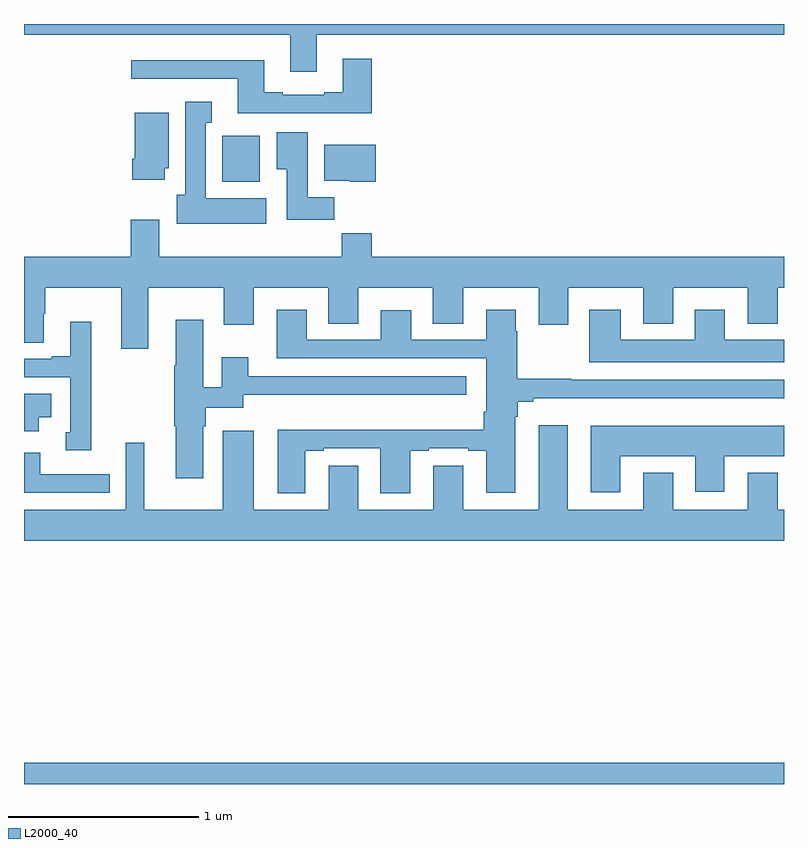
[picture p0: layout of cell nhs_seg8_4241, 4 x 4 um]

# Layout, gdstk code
import gdstk
lib = gdstk.Library(unit=1e-6, precision=1e-09)
def R(c, l, rs):  # rectangles x0, y0, x1, y1
    for r in rs: c.add(gdstk.rectangle(r[:2], r[2:], *l))
def P(c, l, *ps):  # polygons
    for p in ps: c.add(gdstk.Polygon(p, *l))
L2000_40 = (2000, 40)

nhs_seg8_4241 = lib.new_cell('nhs_seg8_4241')
R(nhs_seg8_4241, L2000_40, [(371,1101.9,375,1102.012), (372.044,1105.07,372.241,1105.312)])
P(nhs_seg8_4241, L2000_40, [(372.541,1105.844),(375,1105.844),(375,1105.9),(371,1105.9),(371,1105.844),(372.401,1105.844),(372.401,1105.65),(372.541,1105.65)],
  [(372.83,1105.717),(372.677,1105.717),(372.677,1105.54),(372.581,1105.54),(372.581,1105.527),(372.361,1105.527),(372.361,1105.54),(372.265,1105.54),(372.265,1105.708),(371.565,1105.708),(371.565,1105.611),(372.125,1105.611),(372.125,1105.431),(372.589,1105.431),(372.589,1105.43),(372.83,1105.43)],
  [(372.274,1104.982),(371.956,1104.982),(371.956,1105.379),(371.989,1105.379),(371.989,1105.492),(371.849,1105.492),(371.849,1105.002),(371.804,1105.002),(371.804,1104.848),(372.274,1104.848)],
  [(371.74,1105.14),(371.761,1105.14),(371.761,1105.432),(371.582,1105.432),(371.582,1105.192),(371.57,1105.192),(371.57,1105.08),(371.74,1105.08)],
  [(372.632,1104.988),(372.493,1104.988),(372.493,1105.33),(372.329,1105.33),(372.329,1105.136),(372.383,1105.136),(372.383,1104.87),(372.632,1104.87)],
  [(372.85,1105.264),(372.581,1105.264),(372.581,1105.076),(372.714,1105.076),(372.714,1105.07),(372.85,1105.07)],
  [(371.561,1104.676),(371,1104.676),(371,1104.223),(371.104,1104.223),(371.104,1104.374),(371.112,1104.374),(371.112,1104.512),(371.513,1104.512),(371.513,1104.192),(371.653,1104.192),(371.653,1104.512),(372.05,1104.512),(372.05,1104.318),(372.208,1104.318),(372.208,1104.512),(372.602,1104.512),(372.602,1104.322),(372.76,1104.322),(372.76,1104.512),(373.151,1104.512),(373.151,1104.322),(373.312,1104.322),(373.312,1104.512),(373.709,1104.512),(373.709,1104.318),(373.864,1104.318),(373.864,1104.512),(374.258,1104.512),(374.258,1104.323),(374.416,1104.323),(374.416,1104.512),(374.81,1104.512),(374.81,1104.323),(374.968,1104.323),(374.968,1104.512),(375,1104.512),(375,1104.676),(372.83,1104.676),(372.83,1104.8),(372.673,1104.8),(372.673,1104.676),(371.713,1104.676),(371.713,1104.871),(371.561,1104.871)],
  [(375,1104.238),(374.689,1104.238),(374.689,1104.397),(374.531,1104.397),(374.531,1104.238),(374.14,1104.238),(374.14,1104.397),(373.976,1104.397),(373.976,1104.119),(375,1104.119)],
  [(373.033,1103.655),(373.129,1103.655),(373.129,1103.667),(373.337,1103.667),(373.337,1103.655),(373.433,1103.655),(373.433,1103.433),(373.585,1103.433),(373.585,1103.834),(373.598,1103.834),(373.598,1103.911),(373.681,1103.911),(373.681,1103.93),(375,1103.93),(375,1104.027),(373.88,1104.027),(373.88,1104.032),(373.596,1104.032),(373.596,1104.284),(373.588,1104.284),(373.588,1104.397),(373.433,1104.397),(373.433,1104.237),(373.039,1104.237),(373.039,1104.394),(372.878,1104.394),(372.878,1104.237),(372.487,1104.237),(372.487,1104.397),(372.329,1104.397),(372.329,1104.141),(373.433,1104.141),(373.433,1103.86),(373.421,1103.86),(373.421,1103.765),(372.335,1103.765),(372.335,1103.43),(372.481,1103.43),(372.481,1103.655),(372.577,1103.655),(372.577,1103.667),(372.875,1103.667),(372.875,1103.429),(373.033,1103.429)],
  [(371.944,1103.783),(371.957,1103.783),(371.957,1103.88),(372.154,1103.88),(372.154,1103.948),(373.327,1103.948),(373.327,1104.045),(372.181,1104.045),(372.181,1104.145),(372.041,1104.145),(372.041,1103.989),(371.944,1103.989),(371.944,1104.343),(371.798,1104.343),(371.798,1104.104),(371.791,1104.104),(371.791,1103.783),(371.798,1103.783),(371.798,1103.508),(371.944,1103.508)],
  [(371.353,1104.334),(371.243,1104.334),(371.243,1104.151),(371.147,1104.151),(371.147,1104.138),(371,1104.138),(371,1104.042),(371.244,1104.042),(371.244,1103.751),(371.219,1103.751),(371.219,1103.657),(371.353,1103.657)],
  [(371.077,1103.831),(371.143,1103.831),(371.143,1103.953),(371,1103.953),(371,1103.756),(371.077,1103.756)],
  [(374.258,1103.539),(374.258,1103.344),(373.861,1103.344),(373.861,1103.788),(373.709,1103.788),(373.709,1103.344),(373.312,1103.344),(373.312,1103.575),(373.154,1103.575),(373.154,1103.344),(372.76,1103.344),(372.76,1103.575),(372.605,1103.575),(372.605,1103.344),(372.208,1103.344),(372.208,1103.758),(372.047,1103.758),(372.047,1103.344),(371.632,1103.344),(371.632,1103.695),(371.535,1103.695),(371.535,1103.344),(371,1103.344),(371,1103.18),(375,1103.18),(375,1103.344),(374.968,1103.344),(374.968,1103.539),(374.81,1103.539),(374.81,1103.344),(374.416,1103.344),(374.416,1103.539)],
  [(374.137,1103.624),(374.534,1103.624),(374.534,1103.439),(374.686,1103.439),(374.686,1103.624),(375,1103.624),(375,1103.785),(373.982,1103.785),(373.982,1103.436),(374.137,1103.436)],
  [(371.45,1103.529),(371.086,1103.529),(371.086,1103.644),(371,1103.644),(371,1103.433),(371.45,1103.433)])

lib.write_gds('nhs_seg8_4241.gds')
